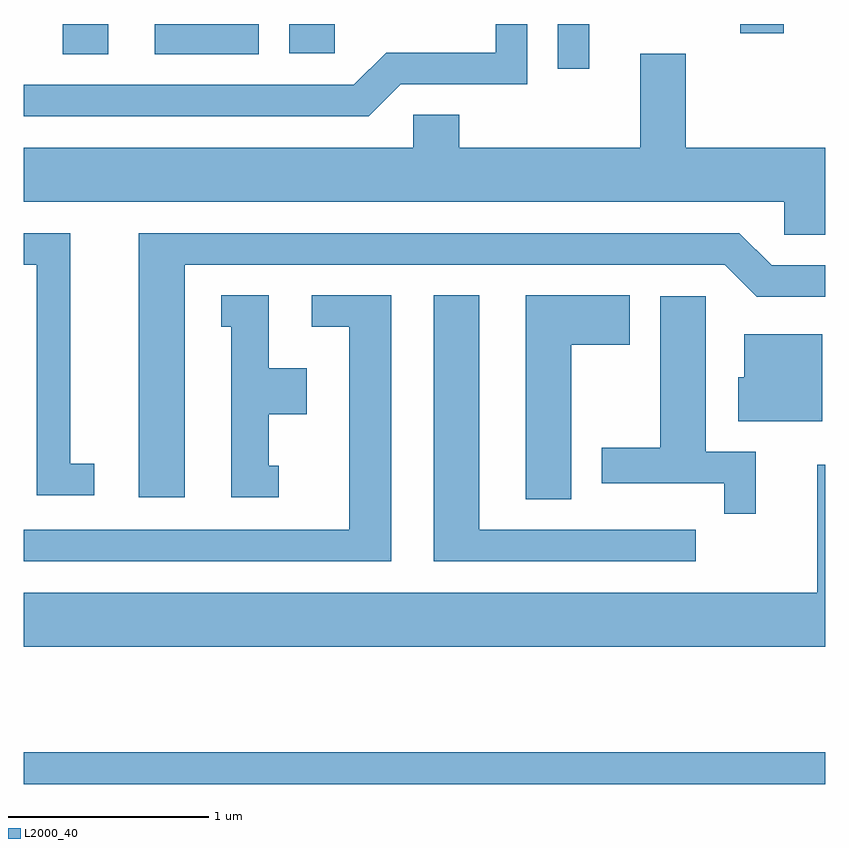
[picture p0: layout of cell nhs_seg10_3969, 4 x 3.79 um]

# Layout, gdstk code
import gdstk
lib = gdstk.Library(unit=1e-6, precision=1e-09)
def R(c, l, rs):  # rectangles x0, y0, x1, y1
    for r in rs: c.add(gdstk.rectangle(r[:2], r[2:], *l))
def P(c, l, *ps):  # polygons
    for p in ps: c.add(gdstk.Polygon(p, *l))
L2000_40 = (2000, 40)

nhs_seg10_3969 = lib.new_cell('nhs_seg10_3969')
R(nhs_seg10_3969, L2000_40, [(301.611,2168.731,305.611,2168.889), (304.276,2172.298,304.434,2172.522), (301.806,2172.371,302.034,2172.522), (302.266,2172.371,302.784,2172.522), (302.936,2172.376,303.164,2172.522), (305.186,2172.476,305.404,2172.522)])
P(nhs_seg10_3969, L2000_40, [(303.492,2172.221),(304.124,2172.221),(304.124,2172.522),(303.966,2172.522),(303.966,2172.379),(303.419,2172.379),(303.259,2172.219),(301.611,2172.219),(301.611,2172.061),(303.332,2172.061)],
  [(305.611,2171.904),(304.914,2171.904),(304.914,2172.374),(304.686,2172.374),(304.686,2171.904),(303.784,2171.904),(303.784,2172.069),(303.556,2172.069),(303.556,2171.904),(301.611,2171.904),(301.611,2171.636),(305.406,2171.636),(305.406,2171.471),(305.611,2171.471)],
  [(301.963,2170.329),(301.844,2170.329),(301.844,2171.479),(301.611,2171.479),(301.611,2171.321),(301.676,2171.321),(301.676,2170.171),(301.963,2170.171)],
  [(302.414,2171.321),(305.109,2171.321),(305.269,2171.161),(305.611,2171.161),(305.611,2171.319),(305.342,2171.319),(305.182,2171.479),(302.186,2171.479),(302.186,2170.161),(302.414,2170.161)],
  [(304.344,2170.921),(304.634,2170.921),(304.634,2171.169),(304.116,2171.169),(304.116,2170.151),(304.344,2170.151)],
  [(302.883,2170.319),(302.834,2170.319),(302.834,2170.576),(303.024,2170.576),(303.024,2170.804),(302.834,2170.804),(302.834,2171.169),(302.598,2171.169),(302.598,2171.011),(302.646,2171.011),(302.646,2170.161),(302.883,2170.161)],
  [(303.444,2171.169),(303.048,2171.169),(303.048,2171.011),(303.236,2171.011),(303.236,2169.999),(301.611,2169.999),(301.611,2169.841),(303.444,2169.841)],
  [(304.963,2169.999),(303.884,2169.999),(303.884,2171.169),(303.656,2171.169),(303.656,2169.841),(304.963,2169.841)],
  [(305.264,2170.389),(305.014,2170.389),(305.014,2171.164),(304.786,2171.164),(304.786,2170.409),(304.496,2170.409),(304.496,2170.231),(305.106,2170.231),(305.106,2170.078),(305.264,2170.078)],
  [(305.594,2170.974),(305.206,2170.974),(305.206,2170.759),(305.176,2170.759),(305.176,2170.541),(305.594,2170.541)],
  [(305.611,2170.323),(305.571,2170.323),(305.571,2169.684),(301.611,2169.684),(301.611,2169.416),(305.611,2169.416)])

lib.write_gds('nhs_seg10_3969.gds')
